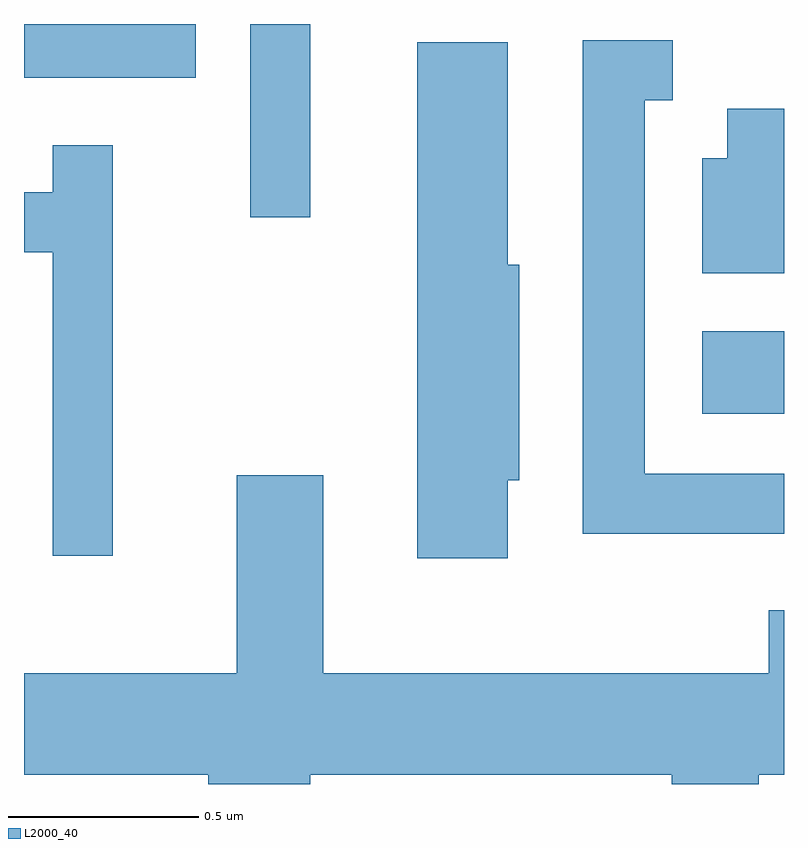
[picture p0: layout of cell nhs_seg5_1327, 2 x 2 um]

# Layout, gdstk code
import gdstk
lib = gdstk.Library(unit=1e-6, precision=1e-09)
def R(c, l, rs):  # rectangles x0, y0, x1, y1
    for r in rs: c.add(gdstk.rectangle(r[:2], r[2:], *l))
def P(c, l, *ps):  # polygons
    for p in ps: c.add(gdstk.Polygon(p, *l))
L2000_40 = (2000, 40)

nhs_seg5_1327 = lib.new_cell('nhs_seg5_1327')
R(nhs_seg5_1327, L2000_40, [(196.396,1491.046,196.611,1491.264), (195.206,1491.563,195.364,1492.072), (194.611,1491.931,195.063,1492.072)])
P(nhs_seg5_1327, L2000_40, [(196.611,1490.889),(196.244,1490.889),(196.244,1491.871),(196.318,1491.871),(196.318,1492.029),(196.081,1492.029),(196.081,1490.731),(196.611,1490.731)],
  [(195.884,1490.871),(195.914,1490.871),(195.914,1491.439),(195.884,1491.439),(195.884,1492.024),(195.646,1492.024),(195.646,1490.666),(195.884,1490.666)],
  [(196.611,1491.849),(196.461,1491.849),(196.461,1491.719),(196.396,1491.719),(196.396,1491.416),(196.611,1491.416)],
  [(194.844,1491.753),(194.686,1491.753),(194.686,1491.629),(194.611,1491.629),(194.611,1491.471),(194.686,1491.471),(194.686,1490.673),(194.844,1490.673)],
  [(195.364,1490.096),(196.316,1490.096),(196.316,1490.072),(196.544,1490.072),(196.544,1490.096),(196.611,1490.096),(196.611,1490.529),(196.571,1490.529),(196.571,1490.364),(195.399,1490.364),(195.399,1490.884),(195.171,1490.884),(195.171,1490.364),(194.611,1490.364),(194.611,1490.096),(195.096,1490.096),(195.096,1490.072),(195.364,1490.072)])

lib.write_gds('nhs_seg5_1327.gds')
